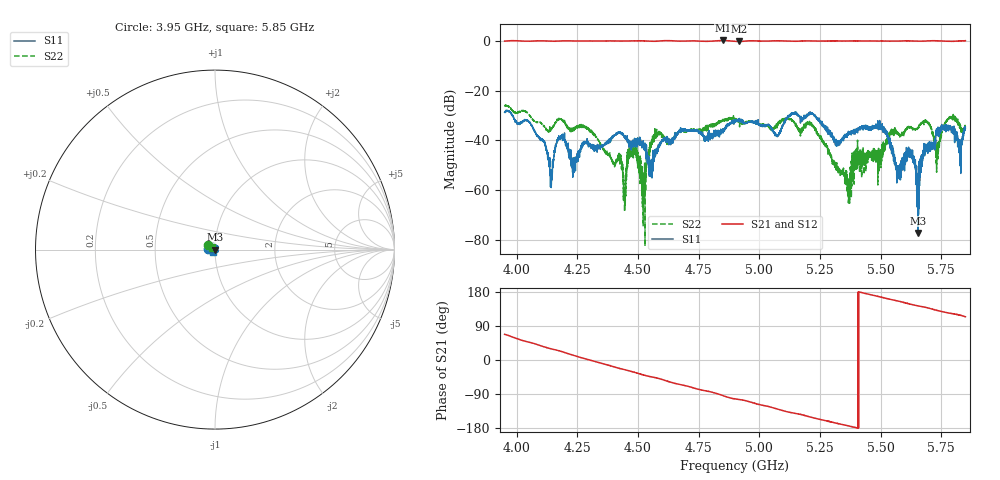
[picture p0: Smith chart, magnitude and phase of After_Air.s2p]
# GHZ S RI R 50.000000000000
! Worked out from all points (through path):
!   4501 points, 3.95 GHz to 5.85 GHz, reference 50 ohm
!   highest |S21| = 0.11 dB at 4.851 GHz (marker M1); lowest = -0.3 dB at 4.916 GHz (marker M2)
!   group delay of S21, straight-line fit = 452 ps
!   lowest |S11| = -77.1 dB at 5.655 GHz (marker M3), VSWR 1.00, Z = 50 - j0.0139 ohm
!   |S11| at or under -10 dB: start of sweep to end of sweep
!   |S22| runs from -82.4 to -25.9 dB; largest |S21 - S12| = 0.044
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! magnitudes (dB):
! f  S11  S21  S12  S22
! 3.95 GHz  -28.7  -0.2  -0.2  -26.3
! 4.054 GHz  -32.7  -0.2  -0.2  -30.1
! 4.14 GHz  -54.6  -0.2  -0.1  -36.2
! 4.177 GHz  -39.3  -0.1  -0.1  -31.6
! 4.232 GHz  -51.4  -0.1  -0.1  -35.7
! 4.267 GHz  -43.2  -0.1  -0.1  -34.7
! 4.445 GHz  -38.6  -0.1  -0.1  -68.6
! 4.477 GHz  -41.9  -0.1  0.0  -42.6
! 4.525 GHz  -42.7  -0.1  -0.1  -55.4
! 4.552 GHz  -51.1  -0.2  -0.2  -42.9
! 4.584 GHz  -43.3  -0.1  -0.2  -37.0
! 4.851 GHz  -37.1  0.1  0.1  -31.5
! 4.9 GHz  -32.6  -0.2  -0.2  -31.7
! 4.916 GHz  -32.2  -0.3  -0.2  -32.3
! 5.217 GHz  -29.1  -0.1  -0.1  -33.6
! 5.369 GHz  -36.9  -0.1  -0.1  -59.5
! 5.401 GHz  -36.2  -0.1  -0.1  -46.5
! 5.534 GHz  -39.4  -0.1  -0.1  -38.2
! 5.655 GHz  -77.1  -0.2  -0.2  -34.8
! 5.738 GHz  -35.2  -0.1  -0.1  -42.4
! 5.782 GHz  -35.1  -0.2  -0.3  -31.1
! 5.85 GHz  -35.1  0.0  0.0  -34.7
